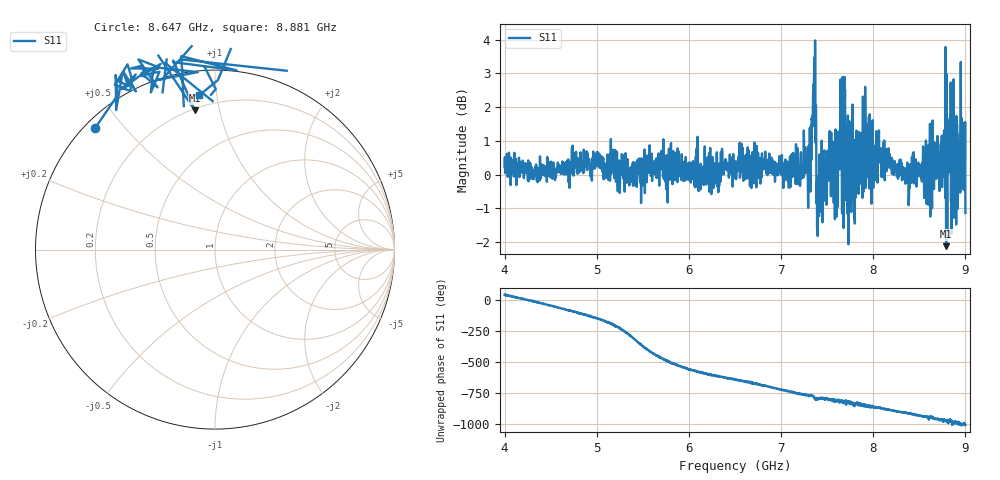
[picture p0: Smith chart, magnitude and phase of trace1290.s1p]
! Created with skrf 1.8.0 (http://scikit-rf.org).
# Hz S RI R 50.0
!freq ReS11 ImS11
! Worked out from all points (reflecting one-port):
!   1601 points, 4 GHz to 9 GHz, reference 50 ohm
!   lowest |S11| = -2.1 dB at 8.791 GHz (marker M1), VSWR 8.25, Z = 10.5 + j42.2 ohm
!   phase of S11 starts at 43 deg and turns -1055 deg over the sweep
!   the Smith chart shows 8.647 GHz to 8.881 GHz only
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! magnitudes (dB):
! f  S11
! 4 GHz  0.2
! 4.625 GHz  0.0
! 5.012 GHz  0.6
! 5.25 GHz  -0.5
! 5.875 GHz  -0.2
! 6.5 GHz  0.2
! 7.125 GHz  0.4
! 7.294 GHz  -1.0
! 7.316 GHz  0.4
! 7.347 GHz  2.3
! 7.356 GHz  2.6
! 7.409 GHz  -1.1
! 7.512 GHz  0.3
! 7.591 GHz  1.3
! 7.669 GHz  0.2
! 7.722 GHz  -0.7
! 7.75 GHz  1.0
! 7.784 GHz  0.6
! 7.8 GHz  -1.4
! 7.938 GHz  1.2
! 8.375 GHz  0.0
! 8.441 GHz  -0.2
! 8.603 GHz  -0.1
! 8.791 GHz  -2.1
! 8.822 GHz  1.3
! 8.875 GHz  1.0
! 8.972 GHz  0.8
! 9 GHz  -1.1
